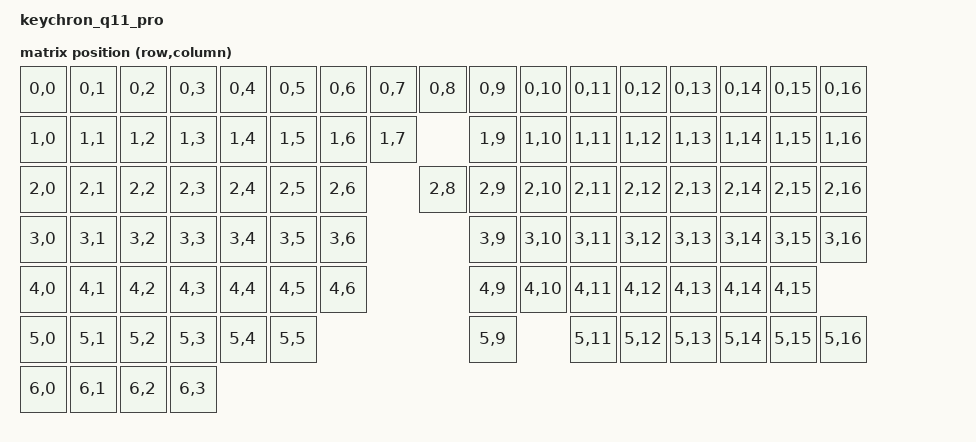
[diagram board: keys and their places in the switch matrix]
/*
* Copyright (c) 2024 Byran Huang, Keychron
*
* SPDX-License-Identifier: MIT
*/

/dts-v1/;
#include <nordic/nrf52840_qiaa.dtsi>
#include <dt-bindings/zmk/ckled2001.h>
#include <dt-bindings/zmk/matrix_transform.h>

/ {
    model = "keychron_q11_pro";
    compatible = "keychron,q11_pro";

    chosen {
        zephyr,code-partition = &code_partition;
        zephyr,sram = &sram0;
        zephyr,flash = &flash0;
        zephyr,console = &cdc_acm_uart; //&cdc_acm_uart;
        zmk,matrix_transform = &default_transform;
        zmk,kscan = &kscan0;
    };

    default_transform: keymap_transform_0 {
        compatible = "zmk,matrix-transform";
        // columns = <1>;
        // rows = <1>;
        // columns = <7>;
        // rows = <6>;
        // map = <
        // RC(0,0)    RC(0,1)    RC(0,2)    RC(0,3)    RC(0,4)    RC(0,5)    RC(0,6)    RC(0,7)
        // RC(1,0)    RC(1,1)    RC(1,2)    RC(1,3)    RC(1,4)    RC(1,5)    RC(1,6)    RC(1,7)
        // RC(2,0)      RC(2,1)    RC(2,2)    RC(2,3)    RC(2,4)    RC(2,5)    RC(2,6)
        // RC(3,0)      RC(3,1)      RC(3,2)    RC(3,3)    RC(3,4)    RC(3,5)    RC(3,6)
        // RC(4,0)      RC(4,1)        RC(4,2)    RC(4,3)    RC(4,4)    RC(4,5)    RC(4,6)
        // RC(5,0)    RC(5,1)     RC(5,2)     RC(5,3)     RC(5,4)         RC(5,5)
        // >;
        columns = <17>;
        rows = <7>;
        map = <
        RC(0,0) RC(0,1) RC(0,2) RC(0,3) RC(0,4) RC(0,5) RC(0,6) RC(0,7) /**/  RC(0,8) RC(0,9) RC(0,10) RC(0,11) RC(0,12) RC(0,13) RC(0,14) RC(0,15) RC(0,16)
        RC(1,0) RC(1,1) RC(1,2) RC(1,3) RC(1,4) RC(1,5) RC(1,6) RC(1,7) /**/          RC(1,9) RC(1,10) RC(1,11) RC(1,12) RC(1,13) RC(1,14) RC(1,15) RC(1,16)
        RC(2,0) RC(2,1) RC(2,2) RC(2,3) RC(2,4) RC(2,5) RC(2,6)         /**/  RC(2,8) RC(2,9) RC(2,10) RC(2,11) RC(2,12) RC(2,13) RC(2,14) RC(2,15) RC(2,16)
        RC(3,0) RC(3,1) RC(3,2) RC(3,3) RC(3,4) RC(3,5) RC(3,6)         /**/          RC(3,9) RC(3,10) RC(3,11) RC(3,12) RC(3,13) RC(3,14) RC(3,15) RC(3,16)
        RC(4,0) RC(4,1) RC(4,2) RC(4,3) RC(4,4) RC(4,5) RC(4,6)         /**/          RC(4,9) RC(4,10) RC(4,11) RC(4,12) RC(4,13) RC(4,14) RC(4,15)
        RC(5,0) RC(5,1) RC(5,2) RC(5,3) RC(5,4) RC(5,5)                 /**/          RC(5,9)          RC(5,11) RC(5,12) RC(5,13) RC(5,14) RC(5,15) RC(5,16)
        RC(6,0) RC(6,1) RC(6,2) RC(6,3)
        >;
        // map = <
        //     RC(0, 0)
        // >;
    };

    // led_strip_comp: led-strip-composite {
    //     compatible = "zmk,led-strip-composite";
    //     label = "LED_STRIP_COMP";
    //     chain-length = < 128 >;
    //     strip-0 {
    //         led-strip = < &led_strip_left >;
    //     };
    //     strip-1 {
    //         led-strip = < &led_strip_right >;
    //     };
    // };

    // Following keyboard scan composite driver as per: https: //zmk.dev/docs/config/kscan#example-configuration
   //  kscan0: kscan_composite {
   //      compatible = "zmk,kscan-composite";
   //      label = "KSCAN0";
   //      columns = <9>;
   //      rows = <7>;
   //      matrix {
   //          kscan = <&kscan1>;
   //      };
   //      direct {
   //          kscan = <&kscan2>;
   //          row-offset = <6>;
   //      };
   //  };

    // Keyboard switch matrix
   //  kscan1: kscan_matrix {
   //      compatible = "zmk,kscan-gpio-matrix";
   //      label = "KSCAN";
   //      diode-direction = "col2row";

   //      col-gpios
   //      = <&gpio0 10 (GPIO_ACTIVE_HIGH)> // L_COL_1
   //      , <&gpio0 9 (GPIO_ACTIVE_HIGH)>  // L_COL_2
   //      , <&gpio1 6 (GPIO_ACTIVE_HIGH)>  // L_COL_3
   //      , <&gpio1 4 (GPIO_ACTIVE_HIGH)>  // L_COL_4
   //      , <&gpio1 2 (GPIO_ACTIVE_HIGH)>  // L_COL_5
   //      , <&gpio1 1 (GPIO_ACTIVE_HIGH)>  // L_COL_6
   //      , <&gpio1 0 (GPIO_ACTIVE_HIGH)>  // L_COL_7
   //      , <&gpio0 24 (GPIO_ACTIVE_HIGH)> // L_COL_8
   //      , <&gpio1 10 (GPIO_ACTIVE_HIGH)> // L_COL_9
   //      ;

   //      row-gpios
   //      = <&gpio0 5  (GPIO_ACTIVE_HIGH | GPIO_PULL_DOWN)>  // L_ROW_1
   //      , <&gpio0 6  (GPIO_ACTIVE_HIGH | GPIO_PULL_DOWN)>  // L_ROW_2
   //      , <&gpio0 8  (GPIO_ACTIVE_HIGH | GPIO_PULL_DOWN)>  // L_ROW_3
   //      , <&gpio1 9  (GPIO_ACTIVE_HIGH | GPIO_PULL_DOWN)>  // L_ROW_4
   //      , <&gpio0 12 (GPIO_ACTIVE_HIGH | GPIO_PULL_DOWN)> // L_ROW_5
   //      , <&gpio0 31 (GPIO_ACTIVE_HIGH | GPIO_PULL_DOWN)> // L_ROW_6
   //      ;
   //  };

    // Direct GPIO scanning
   //  kscan2: kscan_direct {
   //      compatible = "zmk,kscan-gpio-direct";
   //      toggle-mode;
   //      input-gpios
   //      // MAC/WIN toggle
   //      = <&gpio1 15 (GPIO_ACTIVE_LOW | GPIO_PULL_UP)>
   //      // SEL toggle
   //      // @TODO: check SEL toggle voltage levels and UX
   //      , <&gpio0 22 (GPIO_ACTIVE_LOW | GPIO_PULL_UP)>
   //      ;
   //  };

    // @TODO: Implement https: //zmk.dev/docs/behaviors/power
    // External power toggle for SDB pin on CKLED
    // ext-power {
    //         compatible = "zmk,ext-power-generic";
    //         label = "EXT_POWER";
    //         control-gpios = <&gpio1 13 GPIO_ACTIVE_HIGH>;
    //         init-delay-ms = <0>; // Optimize init delay time
    // };

    // EC11 Encoder
    // main_encoder: encoder_main {
    //     compatible = "alps,ec11";
    //     label = "MAIN_ENCODER";
    //     status = "disabled";
    //     a-gpios = <&gpio0 13 (GPIO_ACTIVE_HIGH | GPIO_PULL_UP)>;
    //     b-gpios = <&gpio0 15 (GPIO_ACTIVE_HIGH | GPIO_PULL_UP)>;
    //     resolution = <4>;
    //     steps = <80>;
    // };

    // EC11 Encoder binding
    // sensors {
    //     compatible = "zmk,keymap-sensors";
    //     sensors = <&main_encoder>;
    // };

    // Voltage divider circuit to AIN0
    // vbatt: vbatt {
    //     compatible = "zmk,battery-voltage-divider";
    //     label = "BATTERY";
    //     io-channels = <&adc 0>;  // AIN0
    //     output-ohms = <1000000>; // 1M
    //     full-ohms = <(1000000 + 1000000)>; // 1M + 1M
    // };
};

&adc {
    status = "okay";
};

&gpiote {
    status = "okay";
};

&gpio0 {
    status = "okay";
};

&gpio1 {
    status = "okay";
};

// USB (UART) debugging
&usbd {
    status = "okay";
    cdc_acm_uart: cdc_acm_uart {
        compatible = "zephyr,cdc-acm-uart";
        label = "CDC_ACM_0";
    };
};

// @TODO: perhaps more storage space storage parition not used
&flash0 {
    /*
     * For more information, see:
     * http: //docs.zephyrproject.org/latest/devices/dts/flash_partitions.html
     */
    partitions {
        compatible = "fixed-partitions";
        #address-cells = <1>;
        #size-cells = <1>;

        sd_partition: partition@0 {
            label = "softdevice";
            reg = <0x00000000 0x00026000>;
        };
        code_partition: partition@26000 {
            label = "code_partition";
            reg = <0x00026000 0x000c6000>;
        };

        /*
         * The flash starting at 0x000ec000 and ending at
         * 0x000f3fff is reserved for use by the application.
         */

        /*
         * Storage partition will be used by FCB/LittleFS/NVS
         * if enabled.
         */
        storage_partition: partition@ec000 {
            label = "storage";
            reg = <0x000ec000 0x00008000>;
        };

        boot_partition: partition@f4000 {
            label = "adafruit_boot";
            reg = <0x000f4000 0x0000c000>;
        };
    };
};
